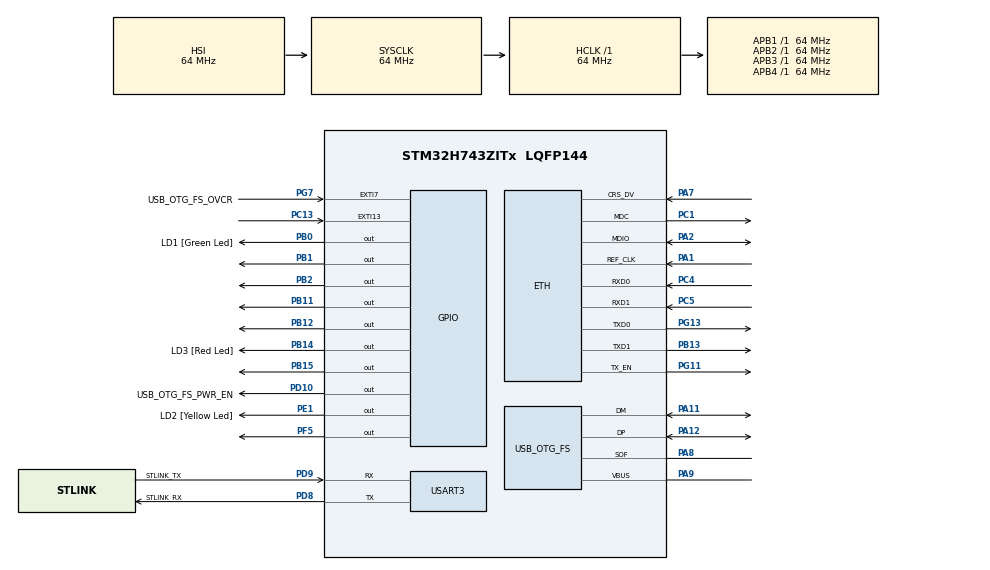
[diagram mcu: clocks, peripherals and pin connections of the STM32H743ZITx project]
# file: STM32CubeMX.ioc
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Mcu.Family=STM32H7
NVIC.USART3_IRQn=true\:0\:0\:false\:false\:true\:true\:true
Dma.USART3_RX.0.Polarity=HAL_DMAMUX_REQ_GEN_RISING
Dma.USART3_RX.0.PeriphInc=DMA_PINC_DISABLE
RCC.CortexFreq_Value=64000000
PH0-OSC_IN\ (PH0).Signal=RCC_OSC_IN
PB14.GPIO_Label=LD3 [Red Led]
PC15-OSC32_OUT\ (OSC32_OUT).Mode=LSE-External-Oscillator
RCC.PLLFRACN=0
PA11.Mode=Device_Only
PB0.GPIO_Label=LD1 [Green Led]
PC5.Mode=RMII
PB11.Signal=GPIO_Output
PB13.Signal=ETH_TXD1
PB15.Signal=GPIO_Output
PG13.Signal=ETH_TXD0
PD9.Mode=Asynchronous
PG11.Signal=ETH_TX_EN
ProjectManager.StackSize=0x400
USART3.VirtualMode-Asynchronous=VM_ASYNC
PA12.Signal=USB_OTG_FS_DP
RCC.HCLKFreq_Value=64000000
PD8.Signal=USART3_TX
PE1.Signal=GPIO_Output
NVIC.EXTI15_10_IRQn=true\:0\:0\:false\:false\:true\:true\:true
RCC.HSE_VALUE=8000000
Dma.USART3_RX.0.MemDataAlignment=DMA_MDATAALIGN_BYTE
PB2.Signal=GPIO_Output
RCC.DIVM1=1
Dma.USART3_RX.0.SyncSignalID=NONE
Dma.USART3_RX.0.PeriphDataAlignment=DMA_PDATAALIGN_BYTE
Dma.USART3_RX.0.FIFOMode=DMA_FIFOMODE_DISABLE
PA8.Signal=USB_OTG_FS_SOF
PG13.Mode=RMII
RCC.APB3Freq_Value=64000000
Dma.USART3_RX.0.Direction=DMA_PERIPH_TO_MEMORY
Mcu.Package=LQFP144
PB1.Signal=GPIO_Output
USB_OTG_FS.VirtualMode=Device_Only
Dma.USART3_RX.0.SyncPolarity=HAL_DMAMUX_SYNC_NO_EVENT
Dma.USART3_RX.0.MemInc=DMA_MINC_ENABLE
PF5.Signal=GPIO_Output
PC14-OSC32_IN\ (OSC32_IN).Mode=LSE-External-Oscillator
RCC.APB4Freq_Value=64000000
NVIC.DMA1_Stream0_IRQn=true\:0\:0\:false\:false\:true\:false\:true
PC5.Signal=ETH_RXD1
PB13.Mode=RMII
Dma.Request0=USART3_RX
PH0-OSC_IN\ (PH0).Mode=HSE-External-Clock-Source
PC4.Mode=RMII
Dma.USART3_RX.0.Instance=DMA1_Stream0
RCC.DIVQ1=4
PA7.Mode=RMII
PG7.Signal=GPXTI7
PD9.GPIO_Label=STLINK_TX
Dma.USART3_RX.0.SyncRequestNumber=1
PC13.Signal=GPXTI13
PC4.Signal=ETH_RXD0
PD9.Signal=USART3_RX
PH1-OSC_OUT\ (PH1).Signal=RCC_OSC_OUT
Dma.USART3_RX.0.Mode=DMA_CIRCULAR
PD8.GPIO_Label=STLINK_RX
PD10.Signal=GPIO_Output
PA9.Mode=Activate_VBUS
ProjectManager.TargetToolchain=SW4STM32
PC15-OSC32_OUT\ (OSC32_OUT).Signal=RCC_OSC32_OUT
PA9.Signal=USB_OTG_FS_VBUS
Dma.USART3_RX.0.EventEnable=DISABLE
RCC.DIVN1=24
Dma.USART3_RX.0.SyncEnable=DISABLE
RCC.USBFreq_Value=48000000
PD10.GPIO_Label=USB_OTG_FS_PWR_EN
PD8.Mode=Asynchronous
PA1.Signal=ETH_REF_CLK
PB14.Signal=GPIO_Output
board=NUCLEO-H743ZI2
PE1.GPIO_Label=LD2 [Yellow Led]
RCC.APB2Freq_Value=64000000
PA1.Mode=RMII
PG7.GPIO_Label=USB_OTG_FS_OVCR
RCC.ADCFreq_Value=16125000
Mcu.Name=STM32H743ZITx
PA2.Signal=ETH_MDIO
Dma.USART3_RX.0.RequestNumber=1
RCC.SYSCLKFreq_VALUE=64000000
Dma.USART3_RX.0.Priority=DMA_PRIORITY_HIGH
ETH.MediaInterface=HAL_ETH_RMII_MODE
PA12.Mode=Device_Only
PC14-OSC32_IN\ (OSC32_IN).Signal=RCC_OSC32_IN
PG11.Mode=RMII
PA11.Signal=USB_OTG_FS_DM
ProjectManager.HeapSize=0x200
Dma.USART3_RX.0.SignalID=NONE
NVIC.PriorityGroup=NVIC_PRIORITYGROUP_4
PA2.Mode=RMII
PA8.Mode=Activate_SOF_FS
RCC.APB1Freq_Value=64000000
PB0.Signal=GPIO_Output
PC1.Signal=ETH_MDC
PB12.Signal=GPIO_Output
PC1.Mode=RMII
PA7.Signal=ETH_CRS_DV

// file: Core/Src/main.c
/* USER CODE BEGIN Header */
/**
  ******************************************************************************
  * @file           : main.c
  * @brief          : Main program body
  ******************************************************************************
  * @attention
  *
  * <h2><center>&copy; Copyright (c) 2020 STMicroelectronics.
  * All rights reserved.</center></h2>
  *
  * This software component is licensed by ST under BSD 3-Clause license,
  * the "License"; You may not use this file except in compliance with the
  * License. You may obtain a copy of the License at:
  *                        opensource.org/licenses/BSD-3-Clause
  *
  ******************************************************************************
  */
/* USER CODE END Header */
#include "main.h"
#include "string.h"

/* USER CODE BEGIN Includes */
#include "feedforward.h"
#include "service.h"
#include "test.h"
#include "stdbool.h"
#include "otsu.h"
/* USER CODE END Includes */

#if defined ( __ICCARM__ ) /*!< IAR Compiler */

#pragma location=0x30040000
ETH_DMADescTypeDef  DMARxDscrTab[ETH_RX_DESC_CNT]; /* Ethernet Rx DMA Descriptors */
#pragma location=0x30040060
ETH_DMADescTypeDef  DMATxDscrTab[ETH_TX_DESC_CNT]; /* Ethernet Tx DMA Descriptors */
#pragma location=0x30040200
uint8_t Rx_Buff[ETH_RX_DESC_CNT][ETH_MAX_PACKET_SIZE]; /* Ethernet Receive Buffers */

#elif defined ( __CC_ARM )  /* MDK ARM Compiler */

__attribute__((at(0x30040000))) ETH_DMADescTypeDef  DMARxDscrTab[ETH_RX_DESC_CNT]; /* Ethernet Rx DMA Descriptors */
__attribute__((at(0x30040060))) ETH_DMADescTypeDef  DMATxDscrTab[ETH_TX_DESC_CNT]; /* Ethernet Tx DMA Descriptors */
__attribute__((at(0x30040200))) uint8_t Rx_Buff[ETH_RX_DESC_CNT][ETH_MAX_PACKET_SIZE]; /* Ethernet Receive Buffer */

#elif defined ( __GNUC__ ) /* GNU Compiler */

ETH_DMADescTypeDef DMARxDscrTab[ETH_RX_DESC_CNT] __attribute__((section(".RxDecripSection"))); /* Ethernet Rx DMA Descriptors */
ETH_DMADescTypeDef DMATxDscrTab[ETH_TX_DESC_CNT] __attribute__((section(".TxDecripSection")));   /* Ethernet Tx DMA Descriptors */
uint8_t Rx_Buff[ETH_RX_DESC_CNT][ETH_MAX_PACKET_SIZE] __attribute__((section(".RxArraySection"))); /* Ethernet Receive Buffers */

#endif

ETH_TxPacketConfig TxConfig;

ETH_HandleTypeDef heth;

UART_HandleTypeDef huart3;
DMA_HandleTypeDef hdma_usart3_rx;

PCD_HandleTypeDef hpcd_USB_OTG_FS;

/* USER CODE BEGIN PV */
#define IMAGE_SIZE 784
uint8_t Received[3];
double image[IMAGE_SIZE];
volatile bool done = false;
volatile bool is_otsu = false;

/* USER CODE END PV */

void SystemClock_Config(void);
static void MX_GPIO_Init(void);
static void MX_DMA_Init(void);
static void MX_ETH_Init(void);
static void MX_USART3_UART_Init(void);
static void MX_USB_OTG_FS_PCD_Init(void);

int main(void)
{

  /* MCU Configuration--------------------------------------------------------*/

  /* Reset of all peripherals, Initializes the Flash interface and the Systick. */
  HAL_Init();

  /* Configure the system clock */
  SystemClock_Config();

  /* Initialize all configured peripherals */
  MX_GPIO_Init();
  MX_DMA_Init();
  MX_ETH_Init();
  MX_USART3_UART_Init();
  MX_USB_OTG_FS_PCD_Init();
  /* USER CODE BEGIN 2 */
  test();
	double y[10] = {0};
	double z[10] = {0};
  // DMA does not work!!!!
//  https://community.st.com/s/article/FAQ-DMA-is-not-working-on-STM32H7-devices
  HAL_UART_Receive_IT(&huart3, Received, 3);

  /* USER CODE END 2 */

  /* Infinite loop */
  /* USER CODE BEGIN WHILE */
  uint8_t data[50]; // Tablica przechowujaca wysylana wiadomosc.
  uint16_t size = 0; // Rozmiar wysylanej wiadomosci

  while (1)
  {
	  if(done) {

		  if(is_otsu) {
			  otsu(image, IMAGE_SIZE);
		  }

		  for(int i = 0; i < IMAGE_SIZE; i++) {
			  image[i] = image[i] / 255.0;
		  }

		  think(image, y, z);

		  display_digit(max_idx(y));

		  done = false;
	  }
//	  size = sprintf(data, "Hello!\n\r");
//	  HAL_UART_Transmit_IT(&huart3, data, size);
//	  HAL_Delay(1000);
    /* USER CODE END WHILE */

  }
}

void SystemClock_Config(void)
{
  RCC_OscInitTypeDef RCC_OscInitStruct = {0};
  RCC_ClkInitTypeDef RCC_ClkInitStruct = {0};
  RCC_PeriphCLKInitTypeDef PeriphClkInitStruct = {0};

  /** Supply configuration update enable
  */
  HAL_PWREx_ConfigSupply(PWR_LDO_SUPPLY);
  /** Configure the main internal regulator output voltage
  */
  __HAL_PWR_VOLTAGESCALING_CONFIG(PWR_REGULATOR_VOLTAGE_SCALE3);

  while(!__HAL_PWR_GET_FLAG(PWR_FLAG_VOSRDY)) {}
  /** Initializes the RCC Oscillators according to the specified parameters
  * in the RCC_OscInitTypeDef structure.
  */
  RCC_OscInitStruct.OscillatorType = RCC_OSCILLATORTYPE_HSI|RCC_OSCILLATORTYPE_HSE;
  RCC_OscInitStruct.HSEState = RCC_HSE_BYPASS;
  RCC_OscInitStruct.HSIState = RCC_HSI_DIV1;
  RCC_OscInitStruct.HSICalibrationValue = RCC_HSICALIBRATION_DEFAULT;
  RCC_OscInitStruct.PLL.PLLState = RCC_PLL_ON;
  RCC_OscInitStruct.PLL.PLLSource = RCC_PLLSOURCE_HSE;
  RCC_OscInitStruct.PLL.PLLM = 1;
  RCC_OscInitStruct.PLL.PLLN = 24;
  RCC_OscInitStruct.PLL.PLLP = 2;
  RCC_OscInitStruct.PLL.PLLQ = 4;
  RCC_OscInitStruct.PLL.PLLR = 2;
  RCC_OscInitStruct.PLL.PLLRGE = RCC_PLL1VCIRANGE_3;
  RCC_OscInitStruct.PLL.PLLVCOSEL = RCC_PLL1VCOWIDE;
  RCC_OscInitStruct.PLL.PLLFRACN = 0;
  if (HAL_RCC_OscConfig(&RCC_OscInitStruct) != HAL_OK)
  {
    Error_Handler();
  }
  /** Initializes the CPU, AHB and APB buses clocks
  */
  RCC_ClkInitStruct.ClockType = RCC_CLOCKTYPE_HCLK|RCC_CLOCKTYPE_SYSCLK
                              |RCC_CLOCKTYPE_PCLK1|RCC_CLOCKTYPE_PCLK2
                              |RCC_CLOCKTYPE_D3PCLK1|RCC_CLOCKTYPE_D1PCLK1;
  RCC_ClkInitStruct.SYSCLKSource = RCC_SYSCLKSOURCE_HSI;
  RCC_ClkInitStruct.SYSCLKDivider = RCC_SYSCLK_DIV1;
  RCC_ClkInitStruct.AHBCLKDivider = RCC_HCLK_DIV1;
  RCC_ClkInitStruct.APB3CLKDivider = RCC_APB3_DIV1;
  RCC_ClkInitStruct.APB1CLKDivider = RCC_APB1_DIV1;
  RCC_ClkInitStruct.APB2CLKDivider = RCC_APB2_DIV1;
  RCC_ClkInitStruct.APB4CLKDivider = RCC_APB4_DIV1;

  if (HAL_RCC_ClockConfig(&RCC_ClkInitStruct, FLASH_LATENCY_0) != HAL_OK)
  {
    Error_Handler();
  }
  PeriphClkInitStruct.PeriphClockSelection = RCC_PERIPHCLK_USART3|RCC_PERIPHCLK_USB;
  PeriphClkInitStruct.Usart234578ClockSelection = RCC_USART234578CLKSOURCE_D2PCLK1;
  PeriphClkInitStruct.UsbClockSelection = RCC_USBCLKSOURCE_PLL;
  if (HAL_RCCEx_PeriphCLKConfig(&PeriphClkInitStruct) != HAL_OK)
  {
    Error_Handler();
  }
  /** Enable USB Voltage detector
  */
  HAL_PWREx_EnableUSBVoltageDetector();
}

static void MX_ETH_Init(void)
{

  heth.Instance = ETH;
  heth.Init.MACAddr[0] =   0x00;
  heth.Init.MACAddr[1] =   0x80;
  heth.Init.MACAddr[2] =   0xE1;
  heth.Init.MACAddr[3] =   0x00;
  heth.Init.MACAddr[4] =   0x00;
  heth.Init.MACAddr[5] =   0x00;
  heth.Init.MediaInterface = HAL_ETH_RMII_MODE;
  heth.Init.TxDesc = DMATxDscrTab;
  heth.Init.RxDesc = DMARxDscrTab;
  heth.Init.RxBuffLen = 1524;

  if (HAL_ETH_Init(&heth) != HAL_OK)
  {
    Error_Handler();
  }

  memset(&TxConfig, 0 , sizeof(ETH_TxPacketConfig));
  TxConfig.Attributes = ETH_TX_PACKETS_FEATURES_CSUM | ETH_TX_PACKETS_FEATURES_CRCPAD;
  TxConfig.ChecksumCtrl = ETH_CHECKSUM_IPHDR_PAYLOAD_INSERT_PHDR_CALC;
  TxConfig.CRCPadCtrl = ETH_CRC_PAD_INSERT;

}

static void MX_USART3_UART_Init(void)
{

  huart3.Instance = USART3;
  huart3.Init.BaudRate = 115200;
  huart3.Init.WordLength = UART_WORDLENGTH_8B;
  huart3.Init.StopBits = UART_STOPBITS_1;
  huart3.Init.Parity = UART_PARITY_NONE;
  huart3.Init.Mode = UART_MODE_TX_RX;
  huart3.Init.HwFlowCtl = UART_HWCONTROL_NONE;
  huart3.Init.OverSampling = UART_OVERSAMPLING_16;
  huart3.Init.OneBitSampling = UART_ONE_BIT_SAMPLE_DISABLE;
  huart3.Init.ClockPrescaler = UART_PRESCALER_DIV1;
  huart3.AdvancedInit.AdvFeatureInit = UART_ADVFEATURE_NO_INIT;
  if (HAL_UART_Init(&huart3) != HAL_OK)
  {
    Error_Handler();
  }
  if (HAL_UARTEx_SetTxFifoThreshold(&huart3, UART_TXFIFO_THRESHOLD_1_8) != HAL_OK)
  {
    Error_Handler();
  }
  if (HAL_UARTEx_SetRxFifoThreshold(&huart3, UART_RXFIFO_THRESHOLD_1_8) != HAL_OK)
  {
    Error_Handler();
  }
  if (HAL_UARTEx_DisableFifoMode(&huart3) != HAL_OK)
  {
    Error_Handler();
  }

}

static void MX_USB_OTG_FS_PCD_Init(void)
{

  hpcd_USB_OTG_FS.Instance = USB_OTG_FS;
  hpcd_USB_OTG_FS.Init.dev_endpoints = 9;
  hpcd_USB_OTG_FS.Init.speed = PCD_SPEED_FULL;
  hpcd_USB_OTG_FS.Init.dma_enable = DISABLE;
  hpcd_USB_OTG_FS.Init.phy_itface = PCD_PHY_EMBEDDED;
  hpcd_USB_OTG_FS.Init.Sof_enable = ENABLE;
  hpcd_USB_OTG_FS.Init.low_power_enable = DISABLE;
  hpcd_USB_OTG_FS.Init.lpm_enable = DISABLE;
  hpcd_USB_OTG_FS.Init.battery_charging_enable = ENABLE;
  hpcd_USB_OTG_FS.Init.vbus_sensing_enable = ENABLE;
  hpcd_USB_OTG_FS.Init.use_dedicated_ep1 = DISABLE;
  if (HAL_PCD_Init(&hpcd_USB_OTG_FS) != HAL_OK)
  {
    Error_Handler();
  }

}

static void MX_DMA_Init(void)
{

  /* DMA controller clock enable */
  __HAL_RCC_DMA1_CLK_ENABLE();

  /* DMA interrupt init */
  /* DMA1_Stream0_IRQn interrupt configuration */
  HAL_NVIC_SetPriority(DMA1_Stream0_IRQn, 0, 0);
  HAL_NVIC_EnableIRQ(DMA1_Stream0_IRQn);

}

static void MX_GPIO_Init(void)
{
  GPIO_InitTypeDef GPIO_InitStruct = {0};

  /* GPIO Ports Clock Enable */
  __HAL_RCC_GPIOC_CLK_ENABLE();
  __HAL_RCC_GPIOF_CLK_ENABLE();
  __HAL_RCC_GPIOH_CLK_ENABLE();
  __HAL_RCC_GPIOA_CLK_ENABLE();
  __HAL_RCC_GPIOB_CLK_ENABLE();
  __HAL_RCC_GPIOD_CLK_ENABLE();
  __HAL_RCC_GPIOG_CLK_ENABLE();
  __HAL_RCC_GPIOE_CLK_ENABLE();

  /*Configure GPIO pin Output Level */
  HAL_GPIO_WritePin(GPIOF, GPIO_PIN_5, GPIO_PIN_RESET);

  /*Configure GPIO pin Output Level */
  HAL_GPIO_WritePin(GPIOB, LD1_Pin|GPIO_PIN_1|GPIO_PIN_2|GPIO_PIN_11
                          |GPIO_PIN_12|LD3_Pin|GPIO_PIN_15, GPIO_PIN_RESET);

  /*Configure GPIO pin Output Level */
  HAL_GPIO_WritePin(USB_OTG_FS_PWR_EN_GPIO_Port, USB_OTG_FS_PWR_EN_Pin, GPIO_PIN_RESET);

  /*Configure GPIO pin Output Level */
  HAL_GPIO_WritePin(LD2_GPIO_Port, LD2_Pin, GPIO_PIN_RESET);

  /*Configure GPIO pin : PC13 */
  GPIO_InitStruct.Pin = GPIO_PIN_13;
  GPIO_InitStruct.Mode = GPIO_MODE_IT_RISING;
  GPIO_InitStruct.Pull = GPIO_NOPULL;
  HAL_GPIO_Init(GPIOC, &GPIO_InitStruct);

  /*Configure GPIO pin : PF5 */
  GPIO_InitStruct.Pin = GPIO_PIN_5;
  GPIO_InitStruct.Mode = GPIO_MODE_OUTPUT_PP;
  GPIO_InitStruct.Pull = GPIO_NOPULL;
  GPIO_InitStruct.Speed = GPIO_SPEED_FREQ_LOW;
  HAL_GPIO_Init(GPIOF, &GPIO_InitStruct);

  /*Configure GPIO pins : LD1_Pin PB1 PB2 PB11
                           PB12 LD3_Pin PB15 */
  GPIO_InitStruct.Pin = LD1_Pin|GPIO_PIN_1|GPIO_PIN_2|GPIO_PIN_11
                          |GPIO_PIN_12|LD3_Pin|GPIO_PIN_15;
  GPIO_InitStruct.Mode = GPIO_MODE_OUTPUT_PP;
  GPIO_InitStruct.Pull = GPIO_NOPULL;
  GPIO_InitStruct.Speed = GPIO_SPEED_FREQ_LOW;
  HAL_GPIO_Init(GPIOB, &GPIO_InitStruct);

  /*Configure GPIO pin : USB_OTG_FS_PWR_EN_Pin */
  GPIO_InitStruct.Pin = USB_OTG_FS_PWR_EN_Pin;
  GPIO_InitStruct.Mode = GPIO_MODE_OUTPUT_PP;
  GPIO_InitStruct.Pull = GPIO_NOPULL;
  GPIO_InitStruct.Speed = GPIO_SPEED_FREQ_LOW;
  HAL_GPIO_Init(USB_OTG_FS_PWR_EN_GPIO_Port, &GPIO_InitStruct);

  /*Configure GPIO pin : USB_OTG_FS_OVCR_Pin */
  GPIO_InitStruct.Pin = USB_OTG_FS_OVCR_Pin;
  GPIO_InitStruct.Mode = GPIO_MODE_IT_RISING;
  GPIO_InitStruct.Pull = GPIO_NOPULL;
  HAL_GPIO_Init(USB_OTG_FS_OVCR_GPIO_Port, &GPIO_InitStruct);

  /*Configure GPIO pin : LD2_Pin */
  GPIO_InitStruct.Pin = LD2_Pin;
  GPIO_InitStruct.Mode = GPIO_MODE_OUTPUT_PP;
  GPIO_InitStruct.Pull = GPIO_NOPULL;
  GPIO_InitStruct.Speed = GPIO_SPEED_FREQ_LOW;
  HAL_GPIO_Init(LD2_GPIO_Port, &GPIO_InitStruct);

  /* EXTI interrupt init*/
  HAL_NVIC_SetPriority(EXTI15_10_IRQn, 0, 0);
  HAL_NVIC_EnableIRQ(EXTI15_10_IRQn);

}

void Error_Handler(void)
{
}

/************************ (C) COPYRIGHT STMicroelectronics *****END OF FILE****/
